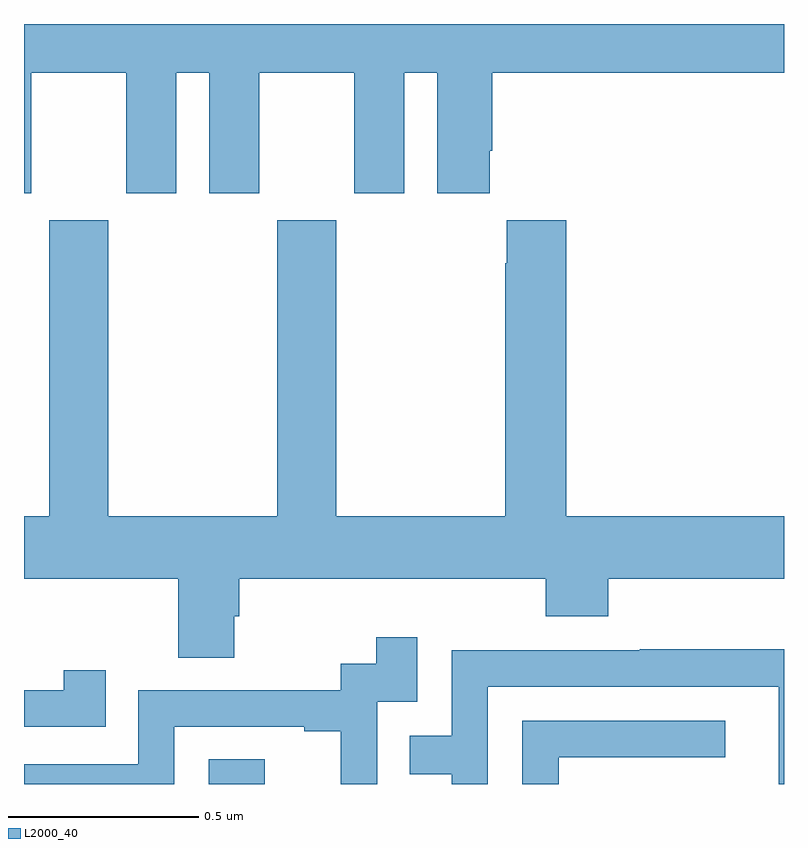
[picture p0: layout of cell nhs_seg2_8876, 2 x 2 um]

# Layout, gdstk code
import gdstk
lib = gdstk.Library(unit=1e-6, precision=1e-09)
def R(c, l, rs):  # rectangles x0, y0, x1, y1
    for r in rs: c.add(gdstk.rectangle(r[:2], r[2:], *l))
def P(c, l, *ps):  # polygons
    for p in ps: c.add(gdstk.Polygon(p, *l))
L2000_40 = (2000, 40)

nhs_seg2_8876 = lib.new_cell('nhs_seg2_8876')
R(nhs_seg2_8876, L2000_40, [(222.486,609.8,222.634,609.865)])
P(nhs_seg2_8876, L2000_40, [(222,611.355),(222.019,611.355),(222.019,611.672),(222.269,611.672),(222.269,611.355),(222.4,611.355),(222.4,611.672),(222.488,611.672),(222.488,611.355),(222.619,611.355),(222.619,611.672),(222.869,611.672),(222.869,611.355),(223,611.355),(223,611.672),(223.088,611.672),(223.088,611.355),(223.225,611.355),(223.225,611.467),(223.232,611.467),(223.232,611.672),(224,611.672),(224,611.8),(222,611.8)],
  [(222.553,610.242),(222.566,610.242),(222.566,610.34),(223.373,610.34),(223.373,610.241),(223.538,610.241),(223.538,610.34),(224,610.34),(224,610.504),(223.427,610.504),(223.427,611.284),(223.271,611.284),(223.271,611.171),(223.267,611.171),(223.267,610.504),(222.822,610.504),(222.822,611.284),(222.667,611.284),(222.667,610.504),(222.222,610.504),(222.222,611.284),(222.067,611.284),(222.067,610.504),(222,610.504),(222,610.34),(222.406,610.34),(222.406,610.132),(222.553,610.132)],
  [(222.396,609.951),(222.737,609.951),(222.737,609.939),(222.833,609.939),(222.833,609.8),(222.93,609.8),(222.93,610.017),(223.035,610.017),(223.035,610.186),(222.927,610.186),(222.927,610.116),(222.834,610.116),(222.834,610.047),(222.3,610.047),(222.3,609.852),(222,609.852),(222,609.8),(222.396,609.8)],
  [(223.221,610.056),(223.986,610.056),(223.986,609.8),(224,609.8),(224,610.154),(223.621,610.154),(223.621,610.152),(223.125,610.152),(223.125,609.927),(223.015,609.927),(223.015,609.826),(223.125,609.826),(223.125,609.8),(223.221,609.8)],
  [(222.215,610.099),(222.104,610.099),(222.104,610.047),(222,610.047),(222,609.951),(222.215,609.951)],
  [(223.407,609.87),(223.846,609.87),(223.846,609.966),(223.311,609.966),(223.311,609.8),(223.407,609.8)])

lib.write_gds('nhs_seg2_8876.gds')
